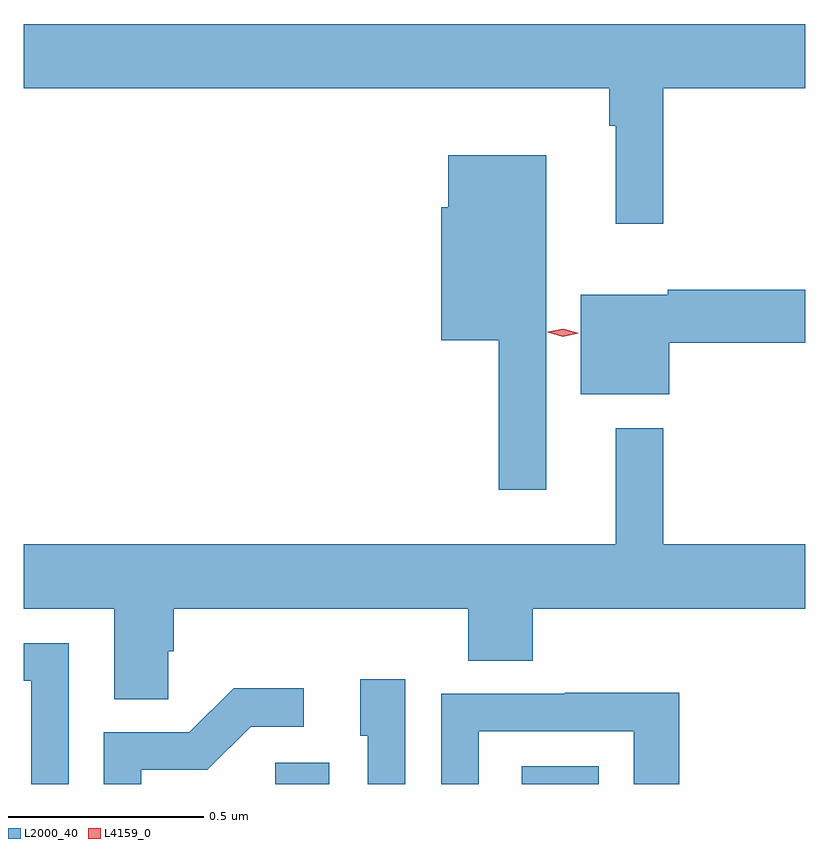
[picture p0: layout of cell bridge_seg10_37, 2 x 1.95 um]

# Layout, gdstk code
import gdstk
lib = gdstk.Library(unit=1e-6, precision=1e-09)
def R(c, l, rs):  # rectangles x0, y0, x1, y1
    for r in rs: c.add(gdstk.rectangle(r[:2], r[2:], *l))
def P(c, l, *ps):  # polygons
    for p in ps: c.add(gdstk.Polygon(p, *l))
L2000_40 = (2000, 40)
L4159_0 = (4159, 0)

bridge_seg10_37 = lib.new_cell('bridge_seg10_37')
R(bridge_seg10_37, L2000_40, [(939.033,1277.223,939.172,1277.278), (939.665,1277.223,939.862,1277.269)])
P(bridge_seg10_37, L2000_40, [(940.027,1279.004),(940.39,1279.004),(940.39,1279.168),(938.39,1279.168),(938.39,1279.004),(939.888,1279.004),(939.888,1278.908),(939.905,1278.908),(939.905,1278.657),(940.027,1278.657)],
  [(939.727,1278.832),(939.476,1278.832),(939.476,1278.699),(939.458,1278.699),(939.458,1278.359),(939.606,1278.359),(939.606,1277.976),(939.727,1277.976)],
  [(940.042,1278.352),(940.39,1278.352),(940.39,1278.488),(940.038,1278.488),(940.038,1278.475),(939.815,1278.475),(939.815,1278.221),(940.042,1278.221)],
  [(938.76,1277.563),(938.774,1277.563),(938.774,1277.672),(939.527,1277.672),(939.527,1277.539),(939.692,1277.539),(939.692,1277.672),(940.39,1277.672),(940.39,1277.836),(940.027,1277.836),(940.027,1278.133),(939.905,1278.133),(939.905,1277.836),(938.39,1277.836),(938.39,1277.672),(938.621,1277.672),(938.621,1277.44),(938.76,1277.44)],
  [(938.505,1277.583),(938.39,1277.583),(938.39,1277.487),(938.409,1277.487),(938.409,1277.223),(938.505,1277.223)],
  [(939.366,1277.491),(939.251,1277.491),(939.251,1277.346),(939.27,1277.346),(939.27,1277.223),(939.366,1277.223)],
  [(938.691,1277.259),(938.86,1277.259),(938.971,1277.37),(939.106,1277.37),(939.106,1277.468),(938.927,1277.468),(938.814,1277.355),(938.595,1277.355),(938.595,1277.223),(938.691,1277.223)],
  [(939.555,1277.358),(939.951,1277.358),(939.951,1277.223),(940.067,1277.223),(940.067,1277.456),(939.775,1277.456),(939.775,1277.454),(939.459,1277.454),(939.459,1277.223),(939.555,1277.223)])
P(bridge_seg10_37, L4159_0, [(939.77,1278.368),(939.731,1278.379),(939.731,1278.379),(939.731,1278.38),(939.771,1278.388),(939.81,1278.376),(939.81,1278.376),(939.81,1278.376)])

lib.write_gds('bridge_seg10_37.gds')
